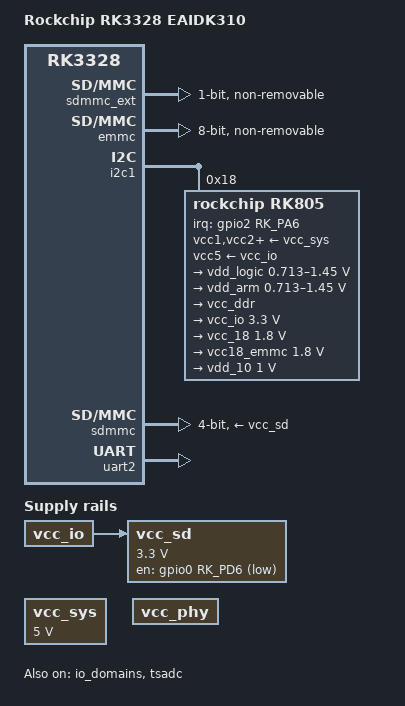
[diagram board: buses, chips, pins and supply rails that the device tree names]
// SPDX-License-Identifier: (GPL-2.0+ OR MIT)
/*
 * Board description for OpenAILab EAIDK310.
 */

/ {
	model = "Rockchip RK3328 EAIDK310";
	compatible = "openailab,eaidk310", "rockchip,rk3328";

	aliases {
		mmc0 = &emmc;
		mmc1 = &sdmmc;
		mmc2 = &sdio;
		mmc3 = &sdmmc_ext;
	};

	chosen {
		stdout-path = "serial2:1500000n8";
	};

	vcc_sd: sdmmc-regulator {
		compatible = "regulator-fixed";
		gpio = <&gpio0 RK_PD6 GPIO_ACTIVE_LOW>;
		pinctrl-names = "default";
		pinctrl-0 = <&sdmmc0m1_pin>;
		regulator-name = "vcc_sd";
		regulator-min-microvolt = <3300000>;
		regulator-max-microvolt = <3300000>;
		vin-supply = <&vcc_io>;
	};

	vcc_sys: vcc-sys {
		compatible = "regulator-fixed";
		regulator-name = "vcc_sys";
		regulator-always-on;
		regulator-boot-on;
		regulator-min-microvolt = <5000000>;
		regulator-max-microvolt = <5000000>;
	};

	vcc_phy: vcc-phy-regulator {
		compatible = "regulator-fixed";
		regulator-name = "vcc_phy";
		regulator-always-on;
		regulator-boot-on;
	};

	sdmmc_ext: mmc@ff5f0000 {
		compatible = "rockchip,rk3328-dw-mshc", "rockchip,rk3288-dw-mshc";
		reg = <0x0 0xff5f0000 0x0 0x4000>;
		interrupts = <GIC_SPI 4 IRQ_TYPE_LEVEL_HIGH>;
		clocks = <&cru HCLK_SDMMC_EXT>, <&cru SCLK_SDMMC_EXT>,
			 <&cru SCLK_SDMMC_EXT_DRV>, <&cru SCLK_SDMMC_EXT_SAMPLE>;
		clock-names = "biu", "ciu", "ciu-drive", "ciu-sample";
		resets = <&cru SRST_SDMMCEXT>;
		reset-names = "reset";
		fifo-depth = <0x100>;
		max-frequency = <150000000>;
		bus-width = <1>;
		cap-mmc-highspeed;
		cap-sd-highspeed;
		cap-sdio-irq;
		disable-wp;
		keep-power-in-suspend;
		non-removable;
		pinctrl-names = "default";
		pinctrl-0 = <&sdmmc0ext_bus4 &sdmmc0ext_cmd &sdmmc0ext_clk>;
		status = "okay";
	};
};

&cpu0 {
	cpu-supply = <&vdd_arm>;
};

&cpu1 {
	cpu-supply = <&vdd_arm>;
};

&cpu2 {
	cpu-supply = <&vdd_arm>;
};

&cpu3 {
	cpu-supply = <&vdd_arm>;
};

&emmc {
	bus-width = <8>;
	cap-mmc-highspeed;
	non-removable;
	pinctrl-names = "default";
	pinctrl-0 = <&emmc_clk &emmc_cmd &emmc_bus8>;
	status = "okay";
};

&i2c1 {
	status = "okay";

	rk805: pmic@18 {
		compatible = "rockchip,rk805";
		reg = <0x18>;
		interrupt-parent = <&gpio2>;
		interrupts = <RK_PA6 IRQ_TYPE_LEVEL_LOW>;
		#clock-cells = <1>;
		clock-output-names = "xin32k", "rk805-clkout2";
		gpio-controller;
		#gpio-cells = <2>;
		pinctrl-names = "default";
		pinctrl-0 = <&pmic_int_l>;
		rockchip,system-power-controller;
		wakeup-source;

		vcc1-supply = <&vcc_sys>;
		vcc2-supply = <&vcc_sys>;
		vcc3-supply = <&vcc_sys>;
		vcc4-supply = <&vcc_sys>;
		vcc5-supply = <&vcc_io>;
		vcc6-supply = <&vcc_sys>;

		regulators {
			vdd_logic: DCDC_REG1 {
				regulator-name = "vdd_logic";
				regulator-min-microvolt = <712500>;
				regulator-max-microvolt = <1450000>;
				regulator-always-on;
				regulator-boot-on;
				regulator-state-mem {
					regulator-on-in-suspend;
					regulator-suspend-microvolt = <1000000>;
				};
			};

			vdd_arm: DCDC_REG2 {
				regulator-name = "vdd_arm";
				regulator-min-microvolt = <712500>;
				regulator-max-microvolt = <1450000>;
				regulator-always-on;
				regulator-boot-on;
				regulator-state-mem {
					regulator-on-in-suspend;
					regulator-suspend-microvolt = <950000>;
				};
			};

			vcc_ddr: DCDC_REG3 {
				regulator-name = "vcc_ddr";
				regulator-always-on;
				regulator-boot-on;
				regulator-state-mem {
					regulator-on-in-suspend;
				};
			};

			vcc_io: DCDC_REG4 {
				regulator-name = "vcc_io";
				regulator-min-microvolt = <3300000>;
				regulator-max-microvolt = <3300000>;
				regulator-always-on;
				regulator-boot-on;
				regulator-state-mem {
					regulator-on-in-suspend;
					regulator-suspend-microvolt = <3300000>;
				};
			};

			vcc_18: LDO_REG1 {
				regulator-name = "vcc_18";
				regulator-min-microvolt = <1800000>;
				regulator-max-microvolt = <1800000>;
				regulator-always-on;
				regulator-boot-on;
				regulator-state-mem {
					regulator-on-in-suspend;
					regulator-suspend-microvolt = <1800000>;
				};
			};

			vcc18_emmc: LDO_REG2 {
				regulator-name = "vcc18_emmc";
				regulator-min-microvolt = <1800000>;
				regulator-max-microvolt = <1800000>;
				regulator-always-on;
				regulator-boot-on;
				regulator-state-mem {
					regulator-on-in-suspend;
					regulator-suspend-microvolt = <1800000>;
				};
			};

			vdd_10: LDO_REG3 {
				regulator-name = "vdd_10";
				regulator-min-microvolt = <1000000>;
				regulator-max-microvolt = <1000000>;
				regulator-always-on;
				regulator-boot-on;
				regulator-state-mem {
					regulator-on-in-suspend;
					regulator-suspend-microvolt = <1000000>;
				};
			};
		};
	};
};

&io_domains {
	status = "okay";
	vccio1-supply = <&vcc_io>;
	vccio2-supply = <&vcc18_emmc>;
	vccio3-supply = <&vcc_18>;
	vccio4-supply = <&vcc_18>;
	vccio5-supply = <&vcc_io>;
	vccio6-supply = <&vcc_io>;
	pmuio-supply = <&vcc_io>;
};

&pinctrl {
	pmic {
		pmic_int_l: pmic-int-l {
			rockchip,pins = <2 RK_PA6 RK_FUNC_GPIO &pcfg_pull_up>;
		};
	};
};

&sdmmc {
	bus-width = <4>;
	cap-mmc-highspeed;
	cap-sd-highspeed;
	disable-wp;
	max-frequency = <150000000>;
	pinctrl-names = "default";
	pinctrl-0 = <&sdmmc0_clk &sdmmc0_cmd &sdmmc0_dectn &sdmmc0_bus4>;
	vmmc-supply = <&vcc_sd>;
	status = "okay";
};

&tsadc {
	status = "okay";
};

&uart2 {
	status = "okay";
};
